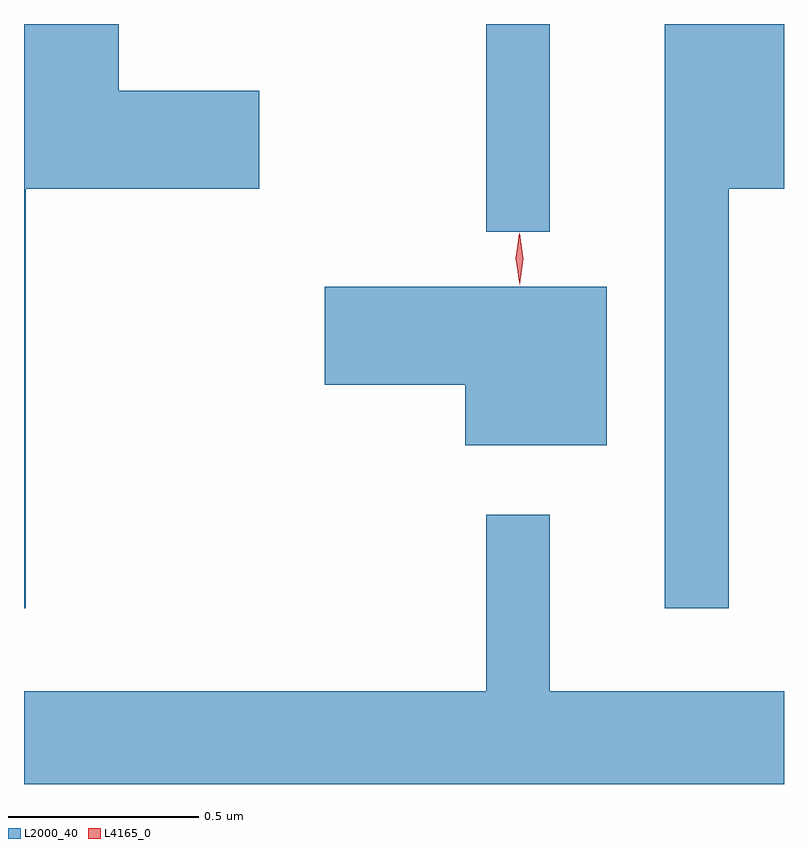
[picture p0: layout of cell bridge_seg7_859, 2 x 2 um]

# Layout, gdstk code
import gdstk
lib = gdstk.Library(unit=1e-6, precision=1e-09)
def R(c, l, rs):  # rectangles x0, y0, x1, y1
    for r in rs: c.add(gdstk.rectangle(r[:2], r[2:], *l))
def P(c, l, *ps):  # polygons
    for p in ps: c.add(gdstk.Polygon(p, *l))
L2000_40 = (2000, 40)
L4165_0 = (4165, 0)

bridge_seg7_859 = lib.new_cell('bridge_seg7_859')
R(bridge_seg7_859, L2000_40, [(212.391,1780.173,212.559,1780.72)])
P(bridge_seg7_859, L2000_40, [(213.029,1780.286),(213.175,1780.286),(213.175,1780.719),(212.861,1780.719),(212.861,1779.183),(213.029,1779.183)],
  [(211.179,1780.286),(211.794,1780.286),(211.794,1780.544),(211.424,1780.544),(211.424,1780.719),(211.175,1780.719),(211.175,1779.183),(211.179,1779.183)],
  [(212.709,1780.029),(211.966,1780.029),(211.966,1779.771),(212.336,1779.771),(212.336,1779.611),(212.709,1779.611)],
  [(213.175,1778.964),(212.559,1778.964),(212.559,1779.428),(212.391,1779.428),(212.391,1778.964),(211.175,1778.964),(211.175,1778.72),(213.175,1778.72)])
P(bridge_seg7_859, L4165_0, [(212.479,1780.04),(212.478,1780.041),(212.469,1780.103),(212.478,1780.166),(212.478,1780.167),(212.479,1780.166),(212.488,1780.104),(212.479,1780.041)],
  [(212.479,1780.034),(212.479,1780.034),(212.469,1780.102),(212.478,1780.17),(212.478,1780.17),(212.479,1780.17),(212.489,1780.102),(212.48,1780.034)])

lib.write_gds('bridge_seg7_859.gds')
